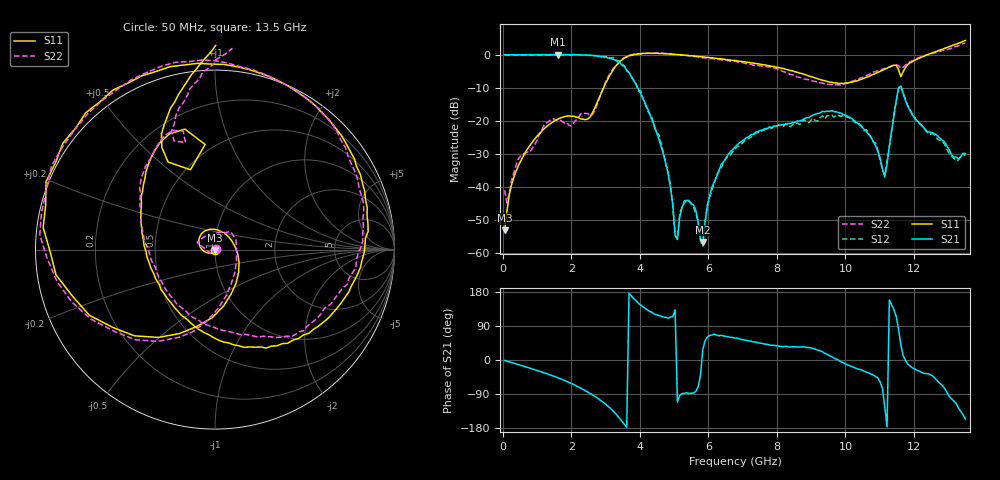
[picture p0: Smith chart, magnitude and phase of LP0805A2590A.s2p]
! AVX THIN FILM OPERATION
! 0805 Size Low Pass Filter P/N  LP0805A2590AWTR
! Network Analyzer HP8720ES.07.64: Feb 23, 2000 Serial No. US39172382
! Hewlett-Packard
!  2 Feb 2003  04:53:22
! Frequency  S11  S21  S12  S22
# HZ  S  DB R  50
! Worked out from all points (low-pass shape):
!   201 points, 50 MHz to 13.5 GHz, reference 50 ohm
!   highest |S21| = 0.02 dB at 1.597 GHz (marker M1); lowest = -56.7 dB at 5.833 GHz (marker M2)
!   |S21| within 3 dB of the highest: start of sweep to 3.462 GHz
!   lowest |S11| = -53.2 dB at 50 MHz (marker M3), VSWR 1.00, Z = 50.1 - j0.196 ohm
!   |S11| at or under -10 dB: start of sweep to 2.94 GHz
!   |S22| runs from -44.8 to 3.5 dB; largest |S21 - S12| = 0.056
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5e7  -53.15 -63.0  0.01 -1.1  -0.01 -1.5  -41.05 29.6
1.1725e8  -47.49 -90.6  -0.04 -3.1  -0.00 -3.2  -44.81 -126.2
4.535e8  -33.54 -124.3  -0.03 -12.3  -0.05 -12.3  -31.44 -123.7
1.59675e9  -19.55 147.6  0.02 -46.6  -0.04 -46.8  -19.72 150.4
2.3365e9  -19.53 60.1  -0.08 -77.2  -0.03 -77.1  -17.60 47.6
2.8745e9  -11.58 -70.2  -0.58 -108.0  -0.62 -107.0  -11.44 -77.1
3.278e9  -3.65 -133.0  -1.59 -140.3  -1.25 -142.8  -3.48 -131.4
3.74875e9  -0.22 165.3  -6.61 168.9  -6.68 168.3  -0.10 167.8
4.55575e9  0.36 99.2  -25.59 117.1  -24.17 116.9  0.48 97.7
4.892e9  0.19 79.6  -40.24 113.4  -39.57 107.1  0.20 78.0
5.0265e9  0.09 72.3  -54.74 132.2  -54.30 139.4  0.04 70.5
5.43e9  -0.29 51.9  -44.13 -88.4  -44.30 -94.9  -0.31 50.2
5.8335e9  -0.66 33.1  -56.69 26.2  -57.96 9.9  -0.95 31.8
6.237e9  -1.11 15.4  -37.09 66.1  -36.43 65.7  -1.35 14.7
6.775e9  -1.76 -7.0  -28.01 58.0  -28.62 57.1  -2.03 -7.4
9.0615e9  -6.85 -101.1  -18.27 30.5  -19.33 22.3  -8.02 -107.8
1.04065e10  -7.62 167.9  -21.25 -24.5  -20.96 -24.3  -7.21 161.0
1.114625e10  -4.40 128.0  -37.08 -123.2  -36.50 -125.4  -4.24 127.1
1.128075e10  -3.76 120.8  -27.65 158.5  -28.20 153.6  -3.74 120.7
1.1617e10  -6.65 107.1  -9.51 39.1  -9.50 45.0  -4.17 105.4
1.235675e10  -0.15 97.7  -23.03 -35.8  -23.25 -31.7  -0.10 94.1
1.35e10  4.30 79.7  -29.95 -155.6  -30.57 -146.7  3.49 79.9
